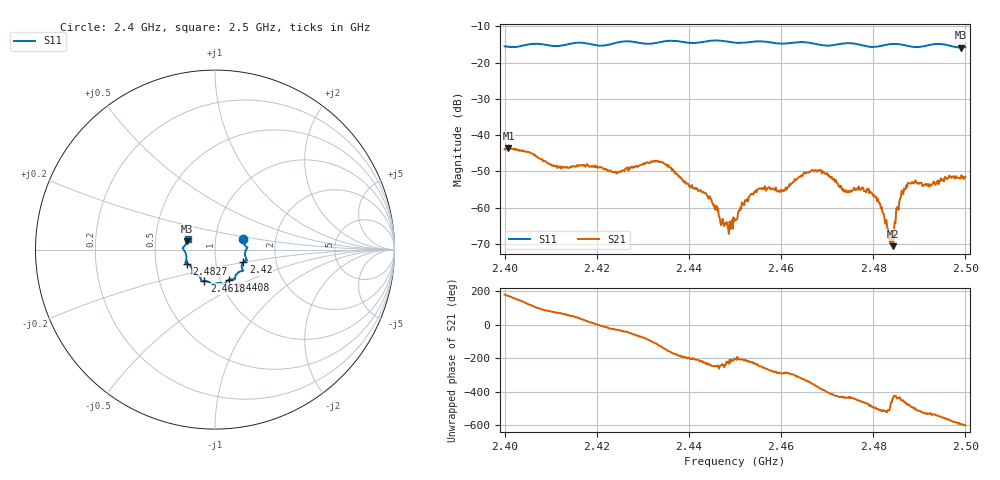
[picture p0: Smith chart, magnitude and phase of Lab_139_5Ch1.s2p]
# Hz S RI R 50
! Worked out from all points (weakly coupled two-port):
!   601 points, 2.4 GHz to 2.5 GHz, reference 50 ohm
!   highest |S21| = -43.55 dB at 2.4008 GHz (marker M1); lowest = -70.6 dB at 2.4843 GHz (marker M2)
!   lowest |S11| = -15.9 dB at 2.499 GHz (marker M3), VSWR 1.38, Z = 36.5 + j3.53 ohm
!   |S11| at or under -10 dB: start of sweep to end of sweep
!   S12 and S22 are empty: the file has one direction only
!   S11 on the Smith chart (normalised r, x): 2.4 GHz: 1.36, +0.17; 2.42 GHz: 1.36, -0.19; 2.4408 GHz: 1.10, -0.38; 2.4618 GHz: 0.84, -0.30; 2.4827 GHz: 0.72, -0.12; 2.5 GHz: 0.73, +0.09
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2.4e9  0.1558 0.0618  -0.00639 5.29e-05  0 0  0 0
2.400833e9  0.1561 0.052  -0.00657 0.00102  0 0  0 0
2.416667e9  0.1782 -0.0595  0.00324 0.00205  0 0  0 0
2.42e9  0.1578 -0.0693  0.0036 6.54e-05  0 0  0 0
2.424333e9  0.1528 -0.1098  0.00257 -0.00146  0 0  0 0
2.433333e9  0.1121 -0.1521  -0.00233 -0.00368  0 0  0 0
2.440833e9  0.0789 -0.1687  -0.00176 0.000581  0 0  0 0
2.444333e9  0.055 -0.1908  -0.000807 0.00106  0 0  0 0
2.447333e9  0.0477 -0.1927  -0.000367 0.000598  0 0  0 0
2.45e9  0.028 -0.186  -0.000644 0.000264  0 0  0 0
2.455e9  -0.0112 -0.1959  -0.000922 0.00155  0 0  0 0
2.461833e9  -0.06 -0.1753  0.000737 0.00199  0 0  0 0
2.466667e9  -0.077 -0.1685  0.00326 0.000482  0 0  0 0
2.473833e9  -0.1249 -0.1355  0.000416 -0.00168  0 0  0 0
2.479167e9  -0.1295 -0.1023  -0.000911 -0.0013  0 0  0 0
2.482667e9  -0.157 -0.0778  -0.000558 -0.000227  0 0  0 0
2.483333e9  -0.1612 -0.0764  -0.000425 -0.000265  0 0  0 0
2.484333e9  -0.1647 -0.0749  6.19e-05 -0.000289  0 0  0 0
2.485667e9  -0.1645 -0.0705  0.000326 -0.00119  0 0  0 0
2.487667e9  -0.1602 -0.0539  -0.00105 -0.00193  0 0  0 0
2.499e9  -0.1542 0.0472  -0.00163 0.00217  0 0  0 0
2.5e9  -0.1516 0.0615  -0.00139 0.00229  0 0  0 0
